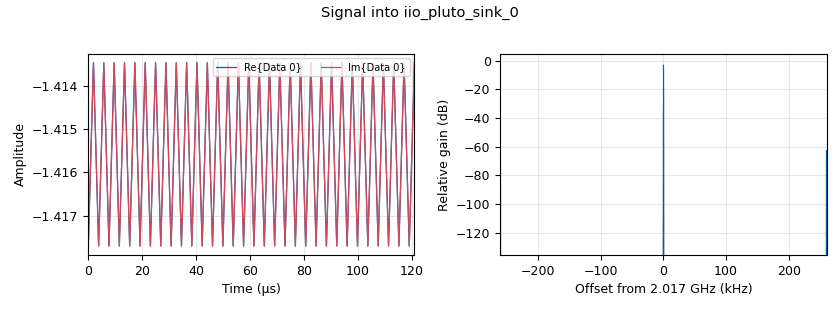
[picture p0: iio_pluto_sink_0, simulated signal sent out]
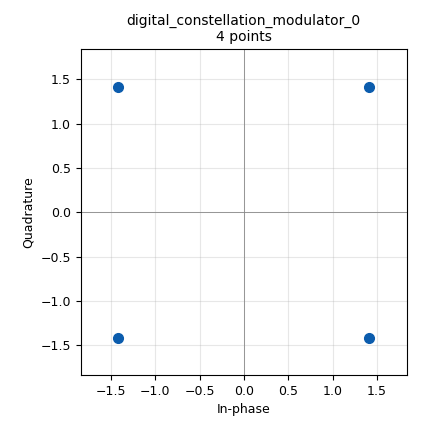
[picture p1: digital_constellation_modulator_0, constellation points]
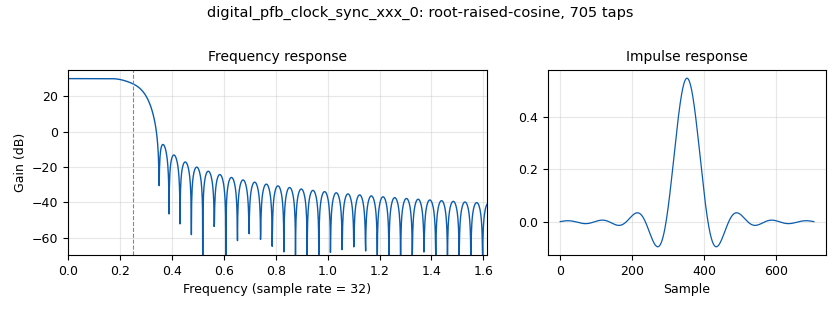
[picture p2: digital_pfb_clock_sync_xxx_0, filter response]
options:
  parameters:
    author: yabool2001
    copyright: mzemlo.pl@gmail.com
    description: QPSK modulation nice visualisation with Pluto
    generate_options: qt_gui
    id: yabool2001_QPSK_mod_nice_visual_w_Pluto
    output_language: python
    title: QPSK modulation nice visualisation with Pluto
  states: {}

blocks:
- name: Pluto_iio_context_uri_ip
  id: variable
  parameters:
    value: '"ip:192.168.2.1"'
  states: {}
- name: Pluto_iio_context_uri_usb
  id: variable
  parameters:
    value: '"usb:2.4.5"'
  states: {}
- name: bw
  id: variable
  parameters:
    value: '20000000'
  states: {}
- name: f_c
  id: variable
  parameters:
    value: '2017000000'
  states: {}
- name: n_filters
  id: variable
  parameters:
    value: '32'
  states: {}
- name: rrc_taps
  id: variable
  parameters:
    value: firdes.root_raised_cosine(n_filters, n_filters, 1.0/float(sps), 0.35, 11*sps*n_filters)
  states: {}
- name: samp_rate
  id: variable
  parameters:
    value: '32000'
  states: {}
- name: samp_rate_Pluto
  id: variable
  parameters:
    value: 65105*8
  states: {}
- name: sps
  id: variable
  parameters:
    value: '2'
  states: {}
- name: variable_constellation_0
  id: variable_constellation
  parameters:
    precision: '8'
    type: qpsk
  states: {}
- name: blocks_repeat_0
  id: blocks_repeat
  parameters:
    interp: samp_rate_Pluto
    type: byte
  states: {}
- name: blocks_vector_source_x_0_1
  id: blocks_vector_source_x
  parameters:
    repeat: 'True'
    type: byte
    vector: '[0,1]'
  states: {}
- name: digital_constellation_decoder_cb_0
  id: digital_constellation_decoder_cb
  parameters:
    constellation: variable_constellation_0
  states: {state: disabled}
- name: digital_constellation_modulator_0
  id: digital_constellation_modulator
  parameters:
    constellation: variable_constellation_0
    differential: 'True'
    excess_bw: '0.35'
    samples_per_symbol: sps
  states: {}
- name: digital_pfb_clock_sync_xxx_0
  id: digital_pfb_clock_sync_xxx
  parameters:
    filter_size: n_filters
    init_phase: '0'
    loop_bw: '0.0628'
    max_dev: '1.5'
    osps: '1'
    sps: sps
    taps: rrc_taps
    type: ccf
  states: {}
- name: iio_pluto_sink_0
  id: iio_pluto_sink
  parameters:
    attenuation1: '0.0'
    bandwidth: bw
    buffer_size: '32768'
    cyclic: 'False'
    filter_source: '''Auto'''
    frequency: f_c
    samplerate: samp_rate_Pluto
    type: fc32
    uri: Pluto_iio_context_uri_ip
  states: {}
- name: iio_pluto_source_0
  id: iio_pluto_source
  parameters:
    bandwidth: bw
    bbdc: 'True'
    buffer_size: '32768'
    filter_source: '''Auto'''
    frequency: f_c
    gain1: '''slow_attack'''
    quadrature: 'True'
    rfdc: 'True'
    samplerate: samp_rate_Pluto
    type: fc32
    uri: Pluto_iio_context_uri_ip
  states: {}
- name: low_pass_filter_0
  id: low_pass_filter
  parameters:
    cutoff_freq: samp_rate_Pluto/2
    decim: '1'
    gain: '1'
    samp_rate: samp_rate_Pluto
    type: fir_filter_ccf
    width: '100000'
    win: window.WIN_HAMMING
  states: {}
- name: qtgui_const_sink_x_0_0_0
  id: qtgui_const_sink_x
  parameters:
    name: '"Input Const"'
    size: '1'
    type: complex
    update_time: '1'
  states: {state: disabled}
- name: qtgui_const_sink_x_0_0_0_0
  id: qtgui_const_sink_x
  parameters:
    name: '"Output Constellation Filt & Sync"'
    size: '1'
    type: complex
    update_time: '1'
  states: {}
- name: qtgui_const_sink_x_0_0_0_0_0
  id: qtgui_const_sink_x
  parameters:
    name: '"Output Constellation"'
    size: '1'
    type: complex
    update_time: '1'
  states: {state: disabled}
- name: qtgui_eye_sink_x_0
  id: qtgui_eye_sink_x
  parameters:
    autoscale: 'True'
    samp_per_symbol: sps
    size: '1024'
    srate: samp_rate_Pluto
    type: complex
    yunit: '"Output Filt & Sync Eye"'
  states: {}
- name: qtgui_eye_sink_x_0_0
  id: qtgui_eye_sink_x
  parameters:
    autoscale: 'True'
    samp_per_symbol: sps
    size: '1024'
    srate: samp_rate_Pluto
    type: complex
  states: {}
- name: qtgui_time_sink_x_0
  id: qtgui_time_sink_x
  parameters:
    autoscale: 'True'
    name: '"Input Time"'
    size: '2048'
    srate: samp_rate
    type: complex
  states: {state: disabled}
- name: qtgui_time_sink_x_0_0
  id: qtgui_time_sink_x
  parameters:
    autoscale: 'True'
    name: '"Output Time"'
    size: '2048'
    srate: samp_rate_Pluto
    type: complex
  states: {state: disabled}

connections:
- [blocks_repeat_0, '0', digital_constellation_modulator_0, '0']
- [blocks_vector_source_x_0_1, '0', blocks_repeat_0, '0']
- [digital_constellation_modulator_0, '0', iio_pluto_sink_0, '0']
- [digital_constellation_modulator_0, '0', qtgui_const_sink_x_0_0_0, '0']
- [digital_constellation_modulator_0, '0', qtgui_time_sink_x_0, '0']
- [digital_pfb_clock_sync_xxx_0, '0', digital_constellation_decoder_cb_0, '0']
- [digital_pfb_clock_sync_xxx_0, '0', qtgui_const_sink_x_0_0_0_0, '0']
- [digital_pfb_clock_sync_xxx_0, '0', qtgui_eye_sink_x_0, '0']
- [digital_pfb_clock_sync_xxx_0, '0', qtgui_time_sink_x_0_0, '0']
- [iio_pluto_source_0, '0', low_pass_filter_0, '0']
- [iio_pluto_source_0, '0', qtgui_const_sink_x_0_0_0_0_0, '0']
- [iio_pluto_source_0, '0', qtgui_eye_sink_x_0_0, '0']
- [low_pass_filter_0, '0', digital_pfb_clock_sync_xxx_0, '0']

metadata:
  file_format: 1
  grc_version: 3.10.10.0
